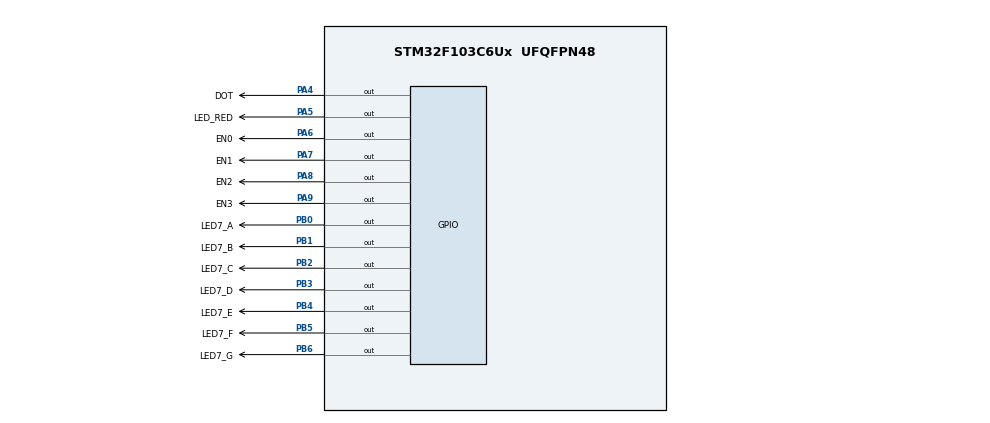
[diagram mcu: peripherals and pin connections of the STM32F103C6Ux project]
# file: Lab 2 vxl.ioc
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Mcu.Family=STM32F1
Mcu.Name=STM32F103C6Ux
Mcu.Package=UFQFPN48
NVIC.PriorityGroup=NVIC_PRIORITYGROUP_4
NVIC.TIM2_IRQn=true\:0\:0\:false\:false\:true\:true\:true
PA4.GPIO_Label=DOT
PA4.Signal=GPIO_Output
PA5.GPIO_Label=LED_RED
PA5.Signal=GPIO_Output
PA6.GPIO_Label=EN0
PA6.Signal=GPIO_Output
PA7.GPIO_Label=EN1
PA7.Signal=GPIO_Output
PA8.GPIO_Label=EN2
PA8.Signal=GPIO_Output
PA9.GPIO_Label=EN3
PA9.Signal=GPIO_Output
PB0.GPIO_Label=LED7_A
PB0.Signal=GPIO_Output
PB1.GPIO_Label=LED7_B
PB1.Signal=GPIO_Output
PB2.GPIO_Label=LED7_C
PB2.Signal=GPIO_Output
PB3.GPIO_Label=LED7_D
PB3.Signal=GPIO_Output
PB4.GPIO_Label=LED7_E
PB4.Signal=GPIO_Output
PB5.GPIO_Label=LED7_F
PB5.Signal=GPIO_Output
PB6.GPIO_Label=LED7_G
PB6.Signal=GPIO_Output
ProjectManager.HeapSize=0x200
ProjectManager.StackSize=0x400
ProjectManager.TargetToolchain=STM32CubeIDE
RCC.APB1Freq_Value=8000000
RCC.APB2Freq_Value=8000000
TIM2.Period=9
TIM2.Prescaler=7999
VP_SYS_VS_ND.Mode=No_Debug
VP_TIM2_VS_ClockSourceINT.Mode=Internal
board=custom

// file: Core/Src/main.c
/* USER CODE BEGIN Header */
/**
  ******************************************************************************
  * @file           : main.c
  * @brief          : Main program body
  ******************************************************************************
  * @attention
  *
  * <h2><center>&copy; Copyright (c) 2022 STMicroelectronics.
  * All rights reserved.</center></h2>
  *
  * This software component is licensed by ST under BSD 3-Clause license,
  * the "License"; You may not use this file except in compliance with the
  * License. You may obtain a copy of the License at:
  *                        opensource.org/licenses/BSD-3-Clause
  *
  ******************************************************************************
  */
/* USER CODE END Header */
#include "main.h"
#include "timer.h"
#include "7seg_clock.h"

TIM_HandleTypeDef htim2;

void SystemClock_Config(void);
static void MX_GPIO_Init(void);
static void MX_TIM2_Init(void);

/* USER CODE BEGIN 0 */

 // for ex 6
int timer0_counter = 0;
int timer0_flag = 0;

void setTimer0 ( int duration ){
	timer0_counter = duration / TIMER_CYCLE ;
	timer0_flag = 0;
}

/* USER CODE END 0 */

int main(void)
{

  /* MCU Configuration--------------------------------------------------------*/

  /* Reset of all peripherals, Initializes the Flash interface and the Systick. */
  HAL_Init();

  /* Configure the system clock */
  SystemClock_Config();

  /* Initialize all configured peripherals */
  MX_GPIO_Init();
  MX_TIM2_Init();
  /* USER CODE BEGIN 2 */
  HAL_TIM_Base_Start_IT (&htim2);
     /* // exercise 5
     	int hour = 15, minute = 8, second = 50;

      // exercise 6
        setTimer0(10); */

      // exercise 7 & 8
        int index_clk = 0;
        int hour = 15, minute = 8, second = 50;
        update7SEG(0, hour/10);
        update7SEG(1, hour%10);
        update7SEG(2, minute/10);
        update7SEG(3, minute%10);
        timer_set(0, 10);
        timer_set(1, 10);
  /* USER CODE END 2 */

  /* Infinite loop */
  while (1)
  {

    /* USER CODE BEGIN 3 */
	   /* // exercise 5
	  	  second++;
	  	  if (second >= 60) {
	  	  	second = 0;
	  	  	minute++;
	  	  }
	  	  if (minute >= 60) {
	  	  	minute = 0;
	  	 		hour++;
	  	  }
	  	  if (hour >= 24) {
	  	  	hour = 0;
	  	  }
	  	  // update hour
	  	  update7SEG(0 , hour/10);
	  	  display7SEG(0);
	  	  HAL_Delay(100);
	  	  update7SEG(1 , hour%10);
	  	  display7SEG(1);
	  	  HAL_Delay(100);

	  	  // update minute
	  	  update7SEG(2 , minute/10);
	  	  display7SEG(2);
	  	  HAL_Delay(100);
	  	  update7SEG(3 , minute%10);
	  	  display7SEG(3);
	  	  HAL_Delay(100);

	  	  // halt
	  	  update7SEG(4 , 99);
	  	  HAL_Delay(100);

	  	  HAL_Delay(500);

	  	   // exercise 6
	  	  if (timer0_flag == 1){
	  		HAL_GPIO_TogglePin(LED_RED_GPIO_Port, LED_RED_Pin);
	  		setTimer0(2000);
	  	  } */

	  	   // exercise 7 & 8
	  	  if (timer_flag[0] == 1){
	  		  HAL_GPIO_TogglePin(DOT_GPIO_Port, DOT_Pin);
	  		  second++;
	  		  if (second >= 60) {
	  		  	second = 0;
	  		  	minute++;
	  		  }
	  		  if (minute >= 60) {
	  			minute = 0;
	  		 	hour++;
	  		  }
	  		  if (hour >= 24) {
	  		  	hour = 0;
	  		  }
	  		  // update hour & minute
	  		  update7SEG(0, hour/10);
	  		  update7SEG(1, hour%10);
	  		  update7SEG(2, minute/10);
	  		  update7SEG(3, minute%10);
	  		  // delay
	  		  timer_set(0, 1000);
	  	  }

	  	  if (timer_flag[1] == 1){
	  		  // display
	  		  display7SEG(index_clk++);
	  		  if (index_clk > 3) index_clk = 0;
	  		  // delay
	  		  timer_set(1, 250);
	  	  }

  }
  /* USER CODE END 3 */
}

void SystemClock_Config(void)
{
  RCC_OscInitTypeDef RCC_OscInitStruct = {0};
  RCC_ClkInitTypeDef RCC_ClkInitStruct = {0};

  /** Initializes the RCC Oscillators according to the specified parameters
  * in the RCC_OscInitTypeDef structure.
  */
  RCC_OscInitStruct.OscillatorType = RCC_OSCILLATORTYPE_HSI;
  RCC_OscInitStruct.HSIState = RCC_HSI_ON;
  RCC_OscInitStruct.HSICalibrationValue = RCC_HSICALIBRATION_DEFAULT;
  RCC_OscInitStruct.PLL.PLLState = RCC_PLL_NONE;
  if (HAL_RCC_OscConfig(&RCC_OscInitStruct) != HAL_OK)
  {
    Error_Handler();
  }
  /** Initializes the CPU, AHB and APB buses clocks
  */
  RCC_ClkInitStruct.ClockType = RCC_CLOCKTYPE_HCLK|RCC_CLOCKTYPE_SYSCLK
                              |RCC_CLOCKTYPE_PCLK1|RCC_CLOCKTYPE_PCLK2;
  RCC_ClkInitStruct.SYSCLKSource = RCC_SYSCLKSOURCE_HSI;
  RCC_ClkInitStruct.AHBCLKDivider = RCC_SYSCLK_DIV1;
  RCC_ClkInitStruct.APB1CLKDivider = RCC_HCLK_DIV1;
  RCC_ClkInitStruct.APB2CLKDivider = RCC_HCLK_DIV1;

  if (HAL_RCC_ClockConfig(&RCC_ClkInitStruct, FLASH_LATENCY_0) != HAL_OK)
  {
    Error_Handler();
  }
}

static void MX_TIM2_Init(void)
{

  TIM_ClockConfigTypeDef sClockSourceConfig = {0};
  TIM_MasterConfigTypeDef sMasterConfig = {0};

  htim2.Instance = TIM2;
  htim2.Init.Prescaler = 7999;
  htim2.Init.CounterMode = TIM_COUNTERMODE_UP;
  htim2.Init.Period = 9;
  htim2.Init.ClockDivision = TIM_CLOCKDIVISION_DIV1;
  htim2.Init.AutoReloadPreload = TIM_AUTORELOAD_PRELOAD_DISABLE;
  if (HAL_TIM_Base_Init(&htim2) != HAL_OK)
  {
    Error_Handler();
  }
  sClockSourceConfig.ClockSource = TIM_CLOCKSOURCE_INTERNAL;
  if (HAL_TIM_ConfigClockSource(&htim2, &sClockSourceConfig) != HAL_OK)
  {
    Error_Handler();
  }
  sMasterConfig.MasterOutputTrigger = TIM_TRGO_RESET;
  sMasterConfig.MasterSlaveMode = TIM_MASTERSLAVEMODE_DISABLE;
  if (HAL_TIMEx_MasterConfigSynchronization(&htim2, &sMasterConfig) != HAL_OK)
  {
    Error_Handler();
  }

}

static void MX_GPIO_Init(void)
{
  GPIO_InitTypeDef GPIO_InitStruct = {0};

  /* GPIO Ports Clock Enable */
  __HAL_RCC_GPIOA_CLK_ENABLE();
  __HAL_RCC_GPIOB_CLK_ENABLE();

  /*Configure GPIO pin Output Level */
  HAL_GPIO_WritePin(GPIOA, DOT_Pin|LED_RED_Pin|EN0_Pin|EN1_Pin
                          |EN2_Pin|EN3_Pin, GPIO_PIN_RESET);

  /*Configure GPIO pin Output Level */
  HAL_GPIO_WritePin(GPIOB, LED7_A_Pin|LED7_B_Pin|LED7_C_Pin|LED7_D_Pin
                          |LED7_E_Pin|LED7_F_Pin|LED7_G_Pin, GPIO_PIN_RESET);

  /*Configure GPIO pins : DOT_Pin LED_RED_Pin EN0_Pin EN1_Pin
                           EN2_Pin EN3_Pin */
  GPIO_InitStruct.Pin = DOT_Pin|LED_RED_Pin|EN0_Pin|EN1_Pin
                          |EN2_Pin|EN3_Pin;
  GPIO_InitStruct.Mode = GPIO_MODE_OUTPUT_PP;
  GPIO_InitStruct.Pull = GPIO_NOPULL;
  GPIO_InitStruct.Speed = GPIO_SPEED_FREQ_LOW;
  HAL_GPIO_Init(GPIOA, &GPIO_InitStruct);

  /*Configure GPIO pins : LED7_A_Pin LED7_B_Pin LED7_C_Pin LED7_D_Pin
                           LED7_E_Pin LED7_F_Pin LED7_G_Pin */
  GPIO_InitStruct.Pin = LED7_A_Pin|LED7_B_Pin|LED7_C_Pin|LED7_D_Pin
                          |LED7_E_Pin|LED7_F_Pin|LED7_G_Pin;
  GPIO_InitStruct.Mode = GPIO_MODE_OUTPUT_PP;
  GPIO_InitStruct.Pull = GPIO_NOPULL;
  GPIO_InitStruct.Speed = GPIO_SPEED_FREQ_LOW;
  HAL_GPIO_Init(GPIOB, &GPIO_InitStruct);

}

/* USER CODE BEGIN 4 */
	/*  // exercise 1
	 int led_cnt = 50 ;
	 int seg_cnt = 50 ;
	 int sw_clk = 0 ;
	 void HAL_TIM_PeriodElapsedCallback(TIM_HandleTypeDef *htim){
		 led_cnt-- ;
		 seg_cnt-- ;
		 if (led_cnt == 0){
		 		led_cnt = 50;
		 		HAL_GPIO_TogglePin(LED_RED_GPIO_Port, LED_RED_Pin);
		 }
		 if (seg_cnt == 0){
		 		seg_cnt = 50;
		 		update7SEG(sw_clk , sw_clk+1);
		 		display7SEG(sw_clk);
		 		sw_clk++;
		 		if (sw_clk == 2) sw_clk = 0;

		 	}
	 } */

/* // exercise 2
int led_cnt = 100;
int seg_cnt = 50;
int sw_clk = 0;
void HAL_TIM_PeriodElapsedCallback(TIM_HandleTypeDef *htim){
	led_cnt--;
	seg_cnt--;
	if (led_cnt == 0){
		led_cnt = 100;
		HAL_GPIO_TogglePin(DOT_GPIO_Port, DOT_Pin);
	}
	if (seg_cnt == 0){
		seg_cnt = 50;
		if (sw_clk == 0) {
			update7SEG(sw_clk , sw_clk+1);
			display7SEG(sw_clk);
		}
		if (sw_clk == 1) {
			update7SEG(sw_clk , sw_clk+1);
			display7SEG(sw_clk);
		}
		if (sw_clk == 2) {
			update7SEG(sw_clk , sw_clk+1);
			display7SEG(sw_clk);
		}
		if (sw_clk == 3) {
			update7SEG(sw_clk , 0);
			display7SEG(sw_clk);
		}
		sw_clk++;
		if (sw_clk == 4) sw_clk = 0;
	}
} */

/* // exercise 3
int led_cnt = 100;
int seg_cnt = 50;
int sw_clk = 0;
void HAL_TIM_PeriodElapsedCallback(TIM_HandleTypeDef *htim){
	led_cnt--;
	seg_cnt--;
	if (led_cnt == 0){
		led_cnt = 100;
		HAL_GPIO_TogglePin(DOT_GPIO_Port, DOT_Pin);
	}
	if (seg_cnt == 0){
		seg_cnt = 50;
		update7SEG(sw_clk , sw_clk+1);
		display7SEG(sw_clk);
		sw_clk++;
		if (sw_clk == 4) sw_clk = 0;
	}
} */

/* // exercise 4
int led_cnt = 100;
int seg_cnt = 25;
int sw_clk = 0;
void HAL_TIM_PeriodElapsedCallback(TIM_HandleTypeDef *htim){
	led_cnt--;
	seg_cnt--;
	if (led_cnt == 0){
		led_cnt = 100;
		HAL_GPIO_TogglePin(DOT_GPIO_Port, DOT_Pin);
	}
	if (seg_cnt == 0){
		seg_cnt = 25;
		update7SEG(sw_clk , sw_clk+1);
		display7SEG(sw_clk);
		sw_clk++;
		if (sw_clk == 4) sw_clk = 0;
	}
} */

/* USER CODE END 4 */

void Error_Handler(void)
{
  __disable_irq();
  while (1)
  {
  }
}

/************************ (C) COPYRIGHT STMicroelectronics *****END OF FILE****/
